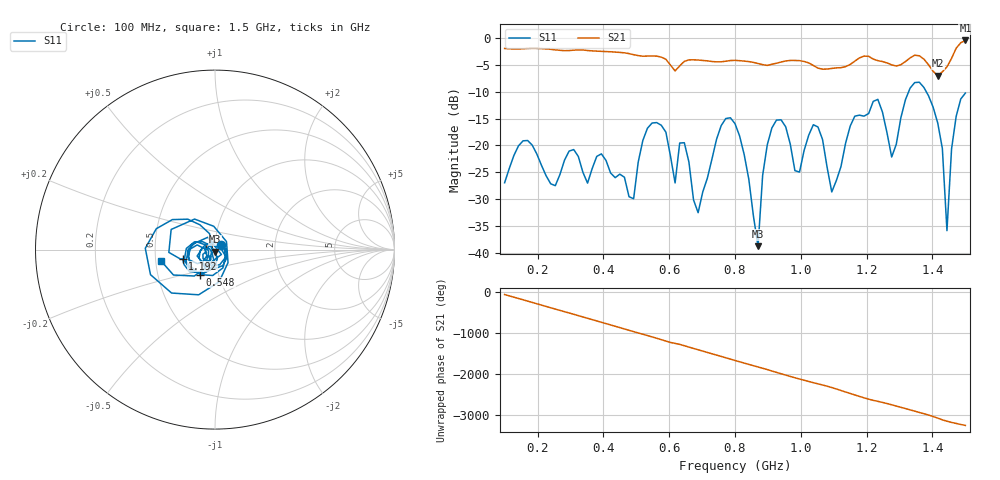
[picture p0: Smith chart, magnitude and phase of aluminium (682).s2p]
! NanoVNA-App
! Date: 2025-09-25 15:00:35
! Start: 100MHz Stop: 1,5GHz Points: 101
! S-Parameter data: F S11 S21 S12 S22
# Hz S RI R 50
!  Frequency  S11_Real  S11_Imag  S21_Real  S21_Imag  S12_Real  S12_Imag  S22_Real  S22_Imag
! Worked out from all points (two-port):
!   101 points, 100 MHz to 1.5 GHz, reference 50 ohm
!   highest |S21| = -0.43 dB at 1.5 GHz (marker M1); lowest = -7.0 dB at 1.416 GHz (marker M2)
!   |S21| within 3 dB of the highest: start of sweep to 567.9 MHz; 1.46 GHz to end of sweep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
!   lowest |S11| = -38.8 dB at 870 MHz (marker M3), VSWR 1.02, Z = 50.2 - j1.14 ohm
!   |S11| at or under -10 dB: start of sweep to 1.327 GHz; 1.381 GHz to end of sweep
!   S12 and S22 are empty: the file has one direction only
!   S11 on the Smith chart (normalised r, x): 100 MHz: 1.07, +0.06; 548 MHz: 0.82, -0.23; 1.192 GHz: 0.69, -0.07; 1.5 GHz: 0.53, -0.07
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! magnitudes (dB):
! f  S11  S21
! 100 MHz  -27.0  -1.9
! 156 MHz  -19.1  -2.0
! 338 MHz  -25.0  -2.2
! 492 MHz  -29.9  -3.1
! 548 MHz  -15.8  -3.3
! 576 MHz  -16.2  -3.5
! 646 MHz  -19.5  -4.3
! 688 MHz  -32.5  -4.1
! 800 MHz  -15.9  -4.1
! 870 MHz  -38.8  -4.7
! 912 MHz  -16.7  -4.9
! 996 MHz  -25.0  -4.2
! 1.038 GHz  -16.1  -5.1
! 1.094 GHz  -28.7  -5.6
! 1.192 GHz  -14.5  -3.3
! 1.234 GHz  -11.4  -4.2
! 1.276 GHz  -22.2  -5.0
! 1.346 GHz  -8.3  -3.2
! 1.416 GHz  -15.8  -7.0
! 1.444 GHz  -35.9  -5.4
! 1.458 GHz  -20.6  -3.8
! 1.5 GHz  -10.2  -0.4
